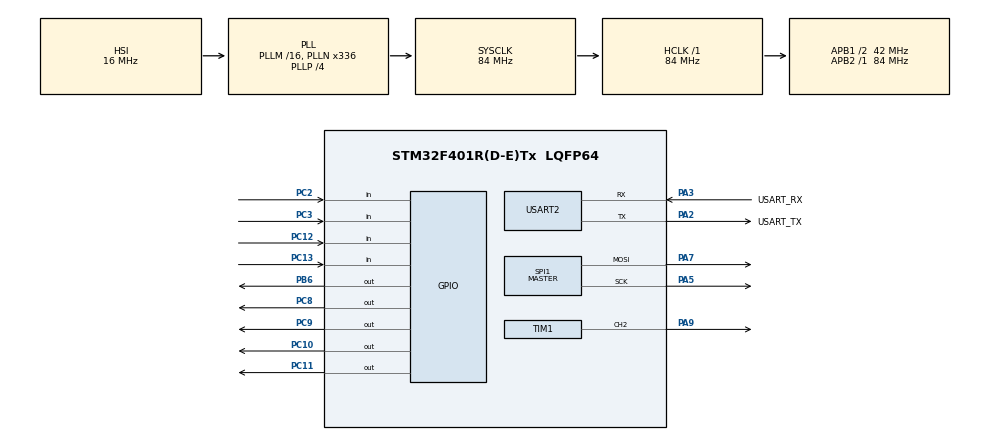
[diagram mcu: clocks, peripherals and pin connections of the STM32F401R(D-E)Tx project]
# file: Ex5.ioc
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Dma.Request0=SPI1_TX
Dma.SPI1_TX.0.Direction=DMA_MEMORY_TO_PERIPH
Dma.SPI1_TX.0.FIFOMode=DMA_FIFOMODE_DISABLE
Dma.SPI1_TX.0.Instance=DMA2_Stream3
Dma.SPI1_TX.0.MemDataAlignment=DMA_MDATAALIGN_BYTE
Dma.SPI1_TX.0.MemInc=DMA_MINC_ENABLE
Dma.SPI1_TX.0.Mode=DMA_NORMAL
Dma.SPI1_TX.0.PeriphDataAlignment=DMA_PDATAALIGN_BYTE
Dma.SPI1_TX.0.PeriphInc=DMA_PINC_DISABLE
Dma.SPI1_TX.0.Priority=DMA_PRIORITY_LOW
Mcu.Family=STM32F4
Mcu.Name=STM32F401R(D-E)Tx
Mcu.Package=LQFP64
NVIC.DMA2_Stream3_IRQn=true\:0\:0\:false\:false\:true\:false\:true\:true
NVIC.PriorityGroup=NVIC_PRIORITYGROUP_0
NVIC.TIM1_TRG_COM_TIM11_IRQn=true\:0\:0\:false\:false\:true\:true\:true\:true
NVIC.TIM1_UP_TIM10_IRQn=true\:0\:0\:false\:false\:true\:true\:true\:true
NVIC.TIM3_IRQn=true\:0\:0\:false\:false\:true\:true\:true\:true
PA13.GPIO_Label=TMS
PA13.Mode=Serial_Wire
PA13.Signal=SYS_JTMS-SWDIO
PA14.GPIO_Label=TCK
PA14.Mode=Serial_Wire
PA14.Signal=SYS_JTCK-SWCLK
PA2.GPIO_Label=USART_TX
PA2.GPIO_Mode=GPIO_MODE_AF_PP
PA2.GPIO_PuPd=GPIO_NOPULL
PA2.GPIO_Speed=GPIO_SPEED_FREQ_LOW
PA2.Mode=Asynchronous
PA2.Signal=USART2_TX
PA3.GPIO_Label=USART_RX
PA3.GPIO_Mode=GPIO_MODE_AF_PP
PA3.GPIO_PuPd=GPIO_NOPULL
PA3.GPIO_Speed=GPIO_SPEED_FREQ_LOW
PA3.Mode=Asynchronous
PA3.Signal=USART2_RX
PA5.Mode=TX_Only_Simplex_Unidirect_Master
PA5.Signal=SPI1_SCK
PA6.Signal=SPI1_MISO
PA7.Mode=TX_Only_Simplex_Unidirect_Master
PA7.Signal=SPI1_MOSI
PA9.Signal=S_TIM1_CH2
PB3.GPIO_Label=SWO
PB3.Signal=SYS_JTDO-SWO
PB6.Signal=GPIO_Output
PC10.Signal=GPIO_Output
PC11.Signal=GPIO_Output
PC12.Signal=GPIO_Input
PC13-ANTI_TAMP.Signal=GPIO_Input
PC14-OSC32_IN.Mode=LSE-External-Oscillator
PC14-OSC32_IN.Signal=RCC_OSC32_IN
PC15-OSC32_OUT.Mode=LSE-External-Oscillator
PC15-OSC32_OUT.Signal=RCC_OSC32_OUT
PC2.Signal=GPIO_Input
PC3.Signal=GPIO_Input
PC8.Signal=GPIO_Output
PC9.Signal=GPIO_Output
PH0\ -\ OSC_IN.Mode=HSE-External-Clock-Source
PH0\ -\ OSC_IN.Signal=RCC_OSC_IN
PH1\ -\ OSC_OUT.Mode=HSE-External-Clock-Source
PH1\ -\ OSC_OUT.Signal=RCC_OSC_OUT
ProjectManager.HeapSize=0x200
ProjectManager.StackSize=0x400
ProjectManager.TargetToolchain=STM32CubeIDE
RCC.48MHZClocksFreq_Value=48000000
RCC.AHBFreq_Value=84000000
RCC.APB1CLKDivider=RCC_HCLK_DIV2
RCC.APB1Freq_Value=42000000
RCC.APB1TimFreq_Value=84000000
RCC.APB2Freq_Value=84000000
RCC.APB2TimFreq_Value=84000000
RCC.CortexFreq_Value=84000000
RCC.HCLKFreq_Value=84000000
RCC.HSE_VALUE=8000000
RCC.HSI_VALUE=16000000
RCC.PLLN=336
RCC.PLLP=RCC_PLLP_DIV4
RCC.PLLQ=7
RCC.SYSCLKFreq_VALUE=84000000
RCC.SYSCLKSource=RCC_SYSCLKSOURCE_PLLCLK
RCC.VCOOutputFreq_Value=336000000
SH.S_TIM1_CH2.0=TIM1_CH2,PWM Generation2 CH2
SPI1.BaudRatePrescaler=SPI_BAUDRATEPRESCALER_4
SPI1.Direction=SPI_DIRECTION_2LINES
SPI1.Mode=SPI_MODE_MASTER
SPI1.VirtualType=VM_MASTER
TIM1.Channel-PWM\ Generation2\ CH2=TIM_CHANNEL_2
TIM1.Period=10-1
TIM1.Prescaler=8400-1
TIM1.TIM_MasterOutputTrigger=TIM_TRGO_UPDATE
TIM10.Period=10-1
TIM10.Prescaler=8400-1
TIM11.Period=4000-1
TIM11.Prescaler=84-1
TIM3.Period=10000-1
TIM3.Prescaler=8400-1
USART2.VirtualMode=VM_ASYNC
VP_TIM10_VS_ClockSourceINT.Mode=Enable_Timer
VP_TIM11_VS_ClockSourceINT.Mode=Enable_Timer
VP_TIM1_VS_ClockSourceINT.Mode=Internal
VP_TIM3_VS_ClockSourceINT.Mode=Internal
board=NUCLEO-F401RE

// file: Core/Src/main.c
/* USER CODE BEGIN Header */
/**
  ******************************************************************************
  * @file           : main.c
  * @brief          : Main program body
  ******************************************************************************
  * @attention
  *
  * Copyright (c) 2023 STMicroelectronics.
  * All rights reserved.
  *
  * This software is licensed under terms that can be found in the LICENSE file
  * in the root directory of this software component.
  * If no LICENSE file comes with this software, it is provided AS-IS.
  *
  ******************************************************************************
  */
/* USER CODE END Header */
#include "main.h"

/* USER CODE BEGIN PD */
#define RCLK_PIN GPIOB, GPIO_PIN_6
#define TIME_UNIT 1000

/* USER CODE END PD */

SPI_HandleTypeDef hspi1;
DMA_HandleTypeDef hdma_spi1_tx;

TIM_HandleTypeDef htim1;
TIM_HandleTypeDef htim3;
TIM_HandleTypeDef htim10;
TIM_HandleTypeDef htim11;

UART_HandleTypeDef huart2;

/* USER CODE BEGIN PV */
// enable read of rows of the keyboard
volatile int activate;

// struct to keep track of the buttons
typedef struct {
	char value[2];
	GPIO_PinState state;
	int pressed;
	int printed;
}keyboard_t;

// service variables
volatile int state_i = 0;
volatile int state_j = 0;
volatile int column = 0;
int column_index=0;

uint8_t matrix[5][2] = {
		{0, 16},
		{32, 8},
		{69, 4},
		{72, 2},
		{48, 1},
};

uint8_t matrix_void[5][2] = {
		{0, 16},
		{0, 8},
		{0, 4},
		{0, 2},
		{0, 1},
};

uint8_t matrix_A[5][2] = {
		{31, 16},
		{36, 8},
		{68, 4},
		{36, 2},
		{31, 1},
};

uint8_t matrix_B[5][2] = {
		{127, 16},
		{73, 8},
		{73, 4},
		{73, 2},
		{54, 1},
};

uint8_t matrix_C[5][2] = {
		{62, 16},
		{65, 8},
		{65, 4},
		{65, 2},
		{34, 1},
};

uint8_t matrix_D[5][2] = {
		{127, 16},
		{65, 8},
		{65, 4},
		{65, 2},
		{62, 1},
};

uint8_t matrix_E[5][2] = {
		{127, 16},
		{73, 8},
		{73, 4},
		{73, 2},
		{73, 1},
};

uint8_t matrix_F[5][2] = {
		{127, 16},
		{72, 8},
		{72, 4},
		{72, 2},
		{72, 1},
};

uint8_t matrix_0[5][2] = {
		{62, 16},
		{113, 8},
		{73, 4},
		{71, 2},
		{62, 1},
};

uint8_t matrix_1[5][2] = {
		{16, 16},
		{33, 8},
		{127, 4},
		{1, 2},
		{0, 1},
};

uint8_t matrix_2[5][2] = {
		{33, 16},
		{67, 8},
		{69, 4},
		{73, 2},
		{49, 1},
};

uint8_t matrix_3[5][2] = {
		{34, 16},
		{65, 8},
		{73, 4},
		{73, 2},
		{54, 1},
};

uint8_t matrix_4[5][2] = {
		{120, 16},
		{8, 8},
		{8, 4},
		{8, 2},
		{127, 1},
};

uint8_t matrix_5[5][2] = {
		{114, 16},
		{81, 8},
		{81, 4},
		{81, 2},
		{78, 1},
};

uint8_t matrix_6[5][2] = {
		{62, 16},
		{73, 8},
		{73, 4},
		{73, 2},
		{38, 1},
};

uint8_t matrix_7[5][2] = {
		{64, 16},
		{64, 8},
		{79, 4},
		{80, 2},
		{96, 1}
};

uint8_t matrix_8[5][2] = {
		{54, 16},
		{73, 8},
		{73, 4},
		{73, 2},
		{54, 1}
};

uint8_t matrix_9[5][2] = {
		{50, 16},
		{73, 8},
		{73, 4},
		{73, 2},
		{62, 1}
};

static void setFrequency(char* note)
{
  TIM_ClockConfigTypeDef sClockSourceConfig = {0};
  TIM_MasterConfigTypeDef sMasterConfig = {0};
  TIM_OC_InitTypeDef sConfigOC = {0};
  TIM_BreakDeadTimeConfigTypeDef sBreakDeadTimeConfig = {0};

  htim1.Instance = TIM1;
  htim1.Init.Prescaler = 100;
  htim1.Init.CounterMode = TIM_COUNTERMODE_UP;
  htim1.Init.Period = getPeriod(note)-1;
  htim1.Init.ClockDivision = TIM_CLOCKDIVISION_DIV1;
  htim1.Init.RepetitionCounter = 0;
  htim1.Init.AutoReloadPreload = TIM_AUTORELOAD_PRELOAD_DISABLE;
  if (HAL_TIM_Base_Init(&htim1) != HAL_OK)
  {
    Error_Handler();
  }
  sClockSourceConfig.ClockSource = TIM_CLOCKSOURCE_INTERNAL;
  if (HAL_TIM_ConfigClockSource(&htim1, &sClockSourceConfig) != HAL_OK)
  {
    Error_Handler();
  }
  if (HAL_TIM_PWM_Init(&htim1) != HAL_OK)
  {
    Error_Handler();
  }
  sMasterConfig.MasterOutputTrigger = TIM_TRGO_RESET;
  sMasterConfig.MasterSlaveMode = TIM_MASTERSLAVEMODE_DISABLE;
  if (HAL_TIMEx_MasterConfigSynchronization(&htim1, &sMasterConfig) != HAL_OK)
  {
    Error_Handler();
  }
  sConfigOC.OCMode = TIM_OCMODE_PWM1;
  sConfigOC.Pulse = (int)getPeriod(note)/2 -1;
  sConfigOC.OCPolarity = TIM_OCPOLARITY_HIGH;
  sConfigOC.OCNPolarity = TIM_OCNPOLARITY_HIGH;
  sConfigOC.OCFastMode = TIM_OCFAST_DISABLE;
  sConfigOC.OCIdleState = TIM_OCIDLESTATE_RESET;
  sConfigOC.OCNIdleState = TIM_OCNIDLESTATE_RESET;
  if (HAL_TIM_PWM_ConfigChannel(&htim1, &sConfigOC, TIM_CHANNEL_2) != HAL_OK)
  {
    Error_Handler();
  }
  sBreakDeadTimeConfig.OffStateRunMode = TIM_OSSR_DISABLE;
  sBreakDeadTimeConfig.OffStateIDLEMode = TIM_OSSI_DISABLE;
  sBreakDeadTimeConfig.LockLevel = TIM_LOCKLEVEL_OFF;
  sBreakDeadTimeConfig.DeadTime = 0;
  sBreakDeadTimeConfig.BreakState = TIM_BREAK_DISABLE;
  sBreakDeadTimeConfig.BreakPolarity = TIM_BREAKPOLARITY_HIGH;
  sBreakDeadTimeConfig.AutomaticOutput = TIM_AUTOMATICOUTPUT_DISABLE;
  if (HAL_TIMEx_ConfigBreakDeadTime(&htim1, &sBreakDeadTimeConfig) != HAL_OK)
  {
    Error_Handler();
  }
  HAL_TIM_MspPostInit(&htim1);
}

int getPeriod(char* note){
	if(strcmp(note, "la")==0)
		return 1909;
	else if (strcmp(note, "la#")==0)
			return 1802;
	else if (strcmp(note, "si")==0)
			return 1700;
	else if (strcmp(note, "do")==0)
			return 3206;
	else if (strcmp(note, "do#")==0)
			return 3032;
	else if (strcmp(note, "re")==0)
			return 2857;
	else if (strcmp(note, "re5")==0)
				return 1431;
	else if (strcmp(note, "re#")==0)
			return 2700;
	else if (strcmp(note, "mi")==0)
			return 2545;
	else if (strcmp(note, "fa")==0)
			return 2406;
	else if (strcmp(note, "fa#")==0)
			return 2270;
	else if (strcmp(note, "sol")==0)
			return 2142;
	else if (strcmp(note, "sol#")==0)
			return 2024;
}
void setNote (char* note, int delay){
	setFrequency(note);
	HAL_TIM_PWM_Start(&htim1, TIM_CHANNEL_2);
	HAL_Delay(delay);
	HAL_TIM_PWM_Stop(&htim1, TIM_CHANNEL_2);
}
void play_zero(){
	 setNote("sol", (int)TIME_UNIT * 3/8);
}
void play_three(){
	 setNote("la", (int)TIME_UNIT * 3/8);
}
void play_c(){
	 setNote("si", (int)TIME_UNIT * 3/8);
}
void play_f(){
	 setNote("do", (int)TIME_UNIT * 3/8);
}
volatile const uint16_t COLUMN_PIN[]= {
	GPIO_PIN_8,
	GPIO_PIN_9,
	GPIO_PIN_10,
	GPIO_PIN_11
};

// send to remote terminal
volatile char message[32];
volatile int length = 0;
/* USER CODE END PV */

void SystemClock_Config(void);
static void MX_GPIO_Init(void);
static void MX_DMA_Init(void);
static void MX_USART2_UART_Init(void);
static void MX_TIM1_Init(void);
static void MX_SPI1_Init(void);
static void MX_TIM11_Init(void);
static void MX_TIM10_Init(void);
static void MX_TIM3_Init(void);
/* USER CODE BEGIN PFP */

void HAL_TIM_PeriodElapsedCallback(TIM_HandleTypeDef *htim){
	if(htim==&htim11)
		HAL_SPI_Transmit_DMA(&hspi1, matrix[column_index], 2);
	if(htim==&htim10)
		activate = 1;
	if (htim==&htim3)
		memcpy(matrix, matrix_void, sizeof(matrix));
}
void HAL_SPI_TxCpltCallback(SPI_HandleTypeDef *hspi){
	if(hspi==&hspi1){
		HAL_GPIO_WritePin(RCLK_PIN, GPIO_PIN_SET);
		if(++column_index>4)
			column_index=0;
		HAL_GPIO_WritePin(RCLK_PIN, GPIO_PIN_RESET);
	}
}
/* USER CODE END PFP */

int main(void)
{

  /* MCU Configuration--------------------------------------------------------*/

  /* Reset of all peripherals, Initializes the Flash interface and the Systick. */
  HAL_Init();

  /* Configure the system clock */
  SystemClock_Config();

  /* Initialize all configured peripherals */
  MX_GPIO_Init();
  MX_DMA_Init();
  MX_USART2_UART_Init();
  MX_TIM1_Init();
  MX_SPI1_Init();
  MX_TIM11_Init();
  MX_TIM10_Init();
  MX_TIM3_Init();
  /* USER CODE BEGIN 2 */
  keyboard_t data[4][4];
  for(int i = 0; i < 4; i++) {
    for(int j = 0; j < 4; j++) {
	    data[i][j].state = GPIO_PIN_SET;
	    data[i][j].value[1] = '\0';
	    data[i][j].pressed = 0;
	    data[i][j].printed = 0;
    }
  }

  data[0][0].value[0] = '0';
  data[0][1].value[0] = '1';
  data[0][2].value[0] = '2';
  data[0][3].value[0] = '3';
  data[1][0].value[0] = '4';
  data[1][1].value[0] = '5';
  data[1][2].value[0] = '6';
  data[1][3].value[0] = '7';
  data[2][0].value[0] = '8';
  data[2][1].value[0] = '9';
  data[2][2].value[0] = 'A';
  data[2][3].value[0] = 'B';
  data[3][0].value[0] = 'C';
  data[3][1].value[0] = 'D';
  data[3][2].value[0] = 'E';
  data[3][3].value[0] = 'F';

  HAL_GPIO_WritePin(GPIOC, GPIO_PIN_8, GPIO_PIN_RESET);
  HAL_GPIO_WritePin(GPIOC, GPIO_PIN_9, GPIO_PIN_RESET);
  HAL_GPIO_WritePin(GPIOC, GPIO_PIN_10, GPIO_PIN_RESET);
  HAL_GPIO_WritePin(GPIOC, GPIO_PIN_11, GPIO_PIN_RESET);

  HAL_TIM_Base_Start_IT(&htim10);
  HAL_TIM_Base_Start_IT(&htim11);
  /* USER CODE END 2 */

  /* Infinite loop */
  /* USER CODE BEGIN WHILE */
  while (1)
  {
	  	HAL_GPIO_WritePin(GPIOC, COLUMN_PIN[column], GPIO_PIN_SET);

	  	if(activate) {
	  		activate = 0;
			data[state_i][state_j].state = HAL_GPIO_ReadPin(GPIOC, GPIO_PIN_12);
			state_i++;
			data[state_i][state_j].state = HAL_GPIO_ReadPin(GPIOC, GPIO_PIN_13);
			state_i++;
			data[state_i][state_j].state = HAL_GPIO_ReadPin(GPIOC, GPIO_PIN_2);
			state_i++;
			data[state_i][state_j].state = HAL_GPIO_ReadPin(GPIOC, GPIO_PIN_3);
			state_i = 0;
			HAL_GPIO_WritePin(GPIOC, COLUMN_PIN[column], GPIO_PIN_RESET);

			column++;
			if(column > 3) {
				column = 0;
			}

			state_j++;
			if(state_j > 3) {
				state_j = 0;
			}

			for(int i = 0; i < 4; i++) {
				for(int j = 0; j < 4; j++) {
					if(data[i][j].state == GPIO_PIN_SET) {
						data[i][j].pressed = 0;
						data[i][j].printed = 0;
					}
				}
			}

			for(int i = 0; i < 4; i++) {
				for(int j = 0; j < 4; j++) {
					if(data[i][j].state == GPIO_PIN_RESET) {
						length = snprintf(message, 32, "%s ", data[i][j].value);
						data[i][j].pressed = 1;
					}

					if(data[i][j].pressed && !data[i][j].printed){
						HAL_UART_Transmit(&huart2, message, length, 50);
						data[i][j].printed = 1;
						switch (data[i][j].value[0]){
							case '0':
								memcpy(matrix, matrix_void, sizeof(matrix));
								play_zero();
								break;
							case '1':
								memcpy(matrix, matrix_1, sizeof(matrix));
								HAL_TIM_Base_Start_IT(&htim3);
								break;
							case '2':
								memcpy(matrix, matrix_2, sizeof(matrix));
								HAL_TIM_Base_Start_IT(&htim3);
								break;
							case '3':
								memcpy(matrix, matrix_void, sizeof(matrix));
								play_three();
								break;
							case '4':
								memcpy(matrix, matrix_4, sizeof(matrix));
								HAL_TIM_Base_Start_IT(&htim3);
								break;
							case '5':
								memcpy(matrix, matrix_5, sizeof(matrix));
								HAL_TIM_Base_Start_IT(&htim3);
								break;
							case '6':
								memcpy(matrix, matrix_6, sizeof(matrix));
								HAL_TIM_Base_Start_IT(&htim3);
								break;
							case '7':
								memcpy(matrix, matrix_7, sizeof(matrix));
								HAL_TIM_Base_Start_IT(&htim3);
								break;
							case '8':
								memcpy(matrix, matrix_8, sizeof(matrix));
								HAL_TIM_Base_Start_IT(&htim3);
								break;
							case '9':
								memcpy(matrix, matrix_9, sizeof(matrix));
								HAL_TIM_Base_Start_IT(&htim3);
								break;
							case 'A':
								memcpy(matrix, matrix_A, sizeof(matrix));
								HAL_TIM_Base_Start_IT(&htim3);
								break;
							case 'B':
								memcpy(matrix, matrix_B, sizeof(matrix));
								HAL_TIM_Base_Start_IT(&htim3);
								break;
							case 'C':
								memcpy(matrix, matrix_void, sizeof(matrix));
								play_c();
								break;
							case 'D':
								memcpy(matrix, matrix_D, sizeof(matrix));
								HAL_TIM_Base_Start_IT(&htim3);
								break;
							case 'E':
								memcpy(matrix, matrix_E, sizeof(matrix));
								HAL_TIM_Base_Start_IT(&htim3);
								break;
							case 'F':
								memcpy(matrix, matrix_void, sizeof(matrix));
								play_f();
								break;
						}

					}
				}
			}
	  	}
    /* USER CODE END WHILE */

  }
}

void SystemClock_Config(void)
{
  RCC_OscInitTypeDef RCC_OscInitStruct = {0};
  RCC_ClkInitTypeDef RCC_ClkInitStruct = {0};

  /** Configure the main internal regulator output voltage
  */
  __HAL_RCC_PWR_CLK_ENABLE();
  __HAL_PWR_VOLTAGESCALING_CONFIG(PWR_REGULATOR_VOLTAGE_SCALE2);

  /** Initializes the RCC Oscillators according to the specified parameters
  * in the RCC_OscInitTypeDef structure.
  */
  RCC_OscInitStruct.OscillatorType = RCC_OSCILLATORTYPE_HSI;
  RCC_OscInitStruct.HSIState = RCC_HSI_ON;
  RCC_OscInitStruct.HSICalibrationValue = RCC_HSICALIBRATION_DEFAULT;
  RCC_OscInitStruct.PLL.PLLState = RCC_PLL_ON;
  RCC_OscInitStruct.PLL.PLLSource = RCC_PLLSOURCE_HSI;
  RCC_OscInitStruct.PLL.PLLM = 16;
  RCC_OscInitStruct.PLL.PLLN = 336;
  RCC_OscInitStruct.PLL.PLLP = RCC_PLLP_DIV4;
  RCC_OscInitStruct.PLL.PLLQ = 7;
  if (HAL_RCC_OscConfig(&RCC_OscInitStruct) != HAL_OK)
  {
    Error_Handler();
  }

  /** Initializes the CPU, AHB and APB buses clocks
  */
  RCC_ClkInitStruct.ClockType = RCC_CLOCKTYPE_HCLK|RCC_CLOCKTYPE_SYSCLK
                              |RCC_CLOCKTYPE_PCLK1|RCC_CLOCKTYPE_PCLK2;
  RCC_ClkInitStruct.SYSCLKSource = RCC_SYSCLKSOURCE_PLLCLK;
  RCC_ClkInitStruct.AHBCLKDivider = RCC_SYSCLK_DIV1;
  RCC_ClkInitStruct.APB1CLKDivider = RCC_HCLK_DIV2;
  RCC_ClkInitStruct.APB2CLKDivider = RCC_HCLK_DIV1;

  if (HAL_RCC_ClockConfig(&RCC_ClkInitStruct, FLASH_LATENCY_2) != HAL_OK)
  {
    Error_Handler();
  }
}

static void MX_SPI1_Init(void)
{

  /* SPI1 parameter configuration*/
  hspi1.Instance = SPI1;
  hspi1.Init.Mode = SPI_MODE_MASTER;
  hspi1.Init.Direction = SPI_DIRECTION_2LINES;
  hspi1.Init.DataSize = SPI_DATASIZE_8BIT;
  hspi1.Init.CLKPolarity = SPI_POLARITY_LOW;
  hspi1.Init.CLKPhase = SPI_PHASE_1EDGE;
  hspi1.Init.NSS = SPI_NSS_SOFT;
  hspi1.Init.BaudRatePrescaler = SPI_BAUDRATEPRESCALER_4;
  hspi1.Init.FirstBit = SPI_FIRSTBIT_MSB;
  hspi1.Init.TIMode = SPI_TIMODE_DISABLE;
  hspi1.Init.CRCCalculation = SPI_CRCCALCULATION_DISABLE;
  hspi1.Init.CRCPolynomial = 10;
  if (HAL_SPI_Init(&hspi1) != HAL_OK)
  {
    Error_Handler();
  }

}

static void MX_TIM1_Init(void)
{

  TIM_ClockConfigTypeDef sClockSourceConfig = {0};
  TIM_MasterConfigTypeDef sMasterConfig = {0};
  TIM_OC_InitTypeDef sConfigOC = {0};
  TIM_BreakDeadTimeConfigTypeDef sBreakDeadTimeConfig = {0};

  htim1.Instance = TIM1;
  htim1.Init.Prescaler = 8400-1;
  htim1.Init.CounterMode = TIM_COUNTERMODE_UP;
  htim1.Init.Period = 10-1;
  htim1.Init.ClockDivision = TIM_CLOCKDIVISION_DIV1;
  htim1.Init.RepetitionCounter = 0;
  htim1.Init.AutoReloadPreload = TIM_AUTORELOAD_PRELOAD_DISABLE;
  if (HAL_TIM_Base_Init(&htim1) != HAL_OK)
  {
    Error_Handler();
  }
  sClockSourceConfig.ClockSource = TIM_CLOCKSOURCE_INTERNAL;
  if (HAL_TIM_ConfigClockSource(&htim1, &sClockSourceConfig) != HAL_OK)
  {
    Error_Handler();
  }
  if (HAL_TIM_PWM_Init(&htim1) != HAL_OK)
  {
    Error_Handler();
  }
  sMasterConfig.MasterOutputTrigger = TIM_TRGO_UPDATE;
  sMasterConfig.MasterSlaveMode = TIM_MASTERSLAVEMODE_DISABLE;
  if (HAL_TIMEx_MasterConfigSynchronization(&htim1, &sMasterConfig) != HAL_OK)
  {
    Error_Handler();
  }
  sConfigOC.OCMode = TIM_OCMODE_PWM1;
  sConfigOC.Pulse = 0;
  sConfigOC.OCPolarity = TIM_OCPOLARITY_HIGH;
  sConfigOC.OCNPolarity = TIM_OCNPOLARITY_HIGH;
  sConfigOC.OCFastMode = TIM_OCFAST_DISABLE;
  sConfigOC.OCIdleState = TIM_OCIDLESTATE_RESET;
  sConfigOC.OCNIdleState = TIM_OCNIDLESTATE_RESET;
  if (HAL_TIM_PWM_ConfigChannel(&htim1, &sConfigOC, TIM_CHANNEL_2) != HAL_OK)
  {
    Error_Handler();
  }
  sBreakDeadTimeConfig.OffStateRunMode = TIM_OSSR_DISABLE;
  sBreakDeadTimeConfig.OffStateIDLEMode = TIM_OSSI_DISABLE;
  sBreakDeadTimeConfig.LockLevel = TIM_LOCKLEVEL_OFF;
  sBreakDeadTimeConfig.DeadTime = 0;
  sBreakDeadTimeConfig.BreakState = TIM_BREAK_DISABLE;
  sBreakDeadTimeConfig.BreakPolarity = TIM_BREAKPOLARITY_HIGH;
  sBreakDeadTimeConfig.AutomaticOutput = TIM_AUTOMATICOUTPUT_DISABLE;
  if (HAL_TIMEx_ConfigBreakDeadTime(&htim1, &sBreakDeadTimeConfig) != HAL_OK)
  {
    Error_Handler();
  }
  HAL_TIM_MspPostInit(&htim1);

}

static void MX_TIM3_Init(void)
{

  TIM_ClockConfigTypeDef sClockSourceConfig = {0};
  TIM_MasterConfigTypeDef sMasterConfig = {0};

  htim3.Instance = TIM3;
  htim3.Init.Prescaler = 8400-1;
  htim3.Init.CounterMode = TIM_COUNTERMODE_UP;
  htim3.Init.Period = 10000-1;
  htim3.Init.ClockDivision = TIM_CLOCKDIVISION_DIV1;
  htim3.Init.AutoReloadPreload = TIM_AUTORELOAD_PRELOAD_DISABLE;
  if (HAL_TIM_Base_Init(&htim3) != HAL_OK)
  {
    Error_Handler();
  }
  sClockSourceConfig.ClockSource = TIM_CLOCKSOURCE_INTERNAL;
  if (HAL_TIM_ConfigClockSource(&htim3, &sClockSourceConfig) != HAL_OK)
  {
    Error_Handler();
  }
  sMasterConfig.MasterOutputTrigger = TIM_TRGO_RESET;
  sMasterConfig.MasterSlaveMode = TIM_MASTERSLAVEMODE_DISABLE;
  if (HAL_TIMEx_MasterConfigSynchronization(&htim3, &sMasterConfig) != HAL_OK)
  {
    Error_Handler();
  }

}

static void MX_TIM10_Init(void)
{

  htim10.Instance = TIM10;
  htim10.Init.Prescaler = 8400-1;
  htim10.Init.CounterMode = TIM_COUNTERMODE_UP;
  htim10.Init.Period = 10-1;
  htim10.Init.ClockDivision = TIM_CLOCKDIVISION_DIV1;
  htim10.Init.AutoReloadPreload = TIM_AUTORELOAD_PRELOAD_DISABLE;
  if (HAL_TIM_Base_Init(&htim10) != HAL_OK)
  {
    Error_Handler();
  }

}

static void MX_TIM11_Init(void)
{

  htim11.Instance = TIM11;
  htim11.Init.Prescaler = 84-1;
  htim11.Init.CounterMode = TIM_COUNTERMODE_UP;
  htim11.Init.Period = 4000-1;
  htim11.Init.ClockDivision = TIM_CLOCKDIVISION_DIV1;
  htim11.Init.AutoReloadPreload = TIM_AUTORELOAD_PRELOAD_DISABLE;
  if (HAL_TIM_Base_Init(&htim11) != HAL_OK)
  {
    Error_Handler();
  }

}

static void MX_USART2_UART_Init(void)
{

  huart2.Instance = USART2;
  huart2.Init.BaudRate = 115200;
  huart2.Init.WordLength = UART_WORDLENGTH_8B;
  huart2.Init.StopBits = UART_STOPBITS_1;
  huart2.Init.Parity = UART_PARITY_NONE;
  huart2.Init.Mode = UART_MODE_TX_RX;
  huart2.Init.HwFlowCtl = UART_HWCONTROL_NONE;
  huart2.Init.OverSampling = UART_OVERSAMPLING_16;
  if (HAL_UART_Init(&huart2) != HAL_OK)
  {
    Error_Handler();
  }

}

static void MX_DMA_Init(void)
{

  /* DMA controller clock enable */
  __HAL_RCC_DMA2_CLK_ENABLE();

  /* DMA interrupt init */
  /* DMA2_Stream3_IRQn interrupt configuration */
  HAL_NVIC_SetPriority(DMA2_Stream3_IRQn, 0, 0);
  HAL_NVIC_EnableIRQ(DMA2_Stream3_IRQn);

}

static void MX_GPIO_Init(void)
{
  GPIO_InitTypeDef GPIO_InitStruct = {0};

  /* GPIO Ports Clock Enable */
  __HAL_RCC_GPIOC_CLK_ENABLE();
  __HAL_RCC_GPIOH_CLK_ENABLE();
  __HAL_RCC_GPIOA_CLK_ENABLE();
  __HAL_RCC_GPIOB_CLK_ENABLE();

  /*Configure GPIO pin Output Level */
  HAL_GPIO_WritePin(GPIOC, GPIO_PIN_8|GPIO_PIN_9|GPIO_PIN_10|GPIO_PIN_11, GPIO_PIN_RESET);

  /*Configure GPIO pin Output Level */
  HAL_GPIO_WritePin(GPIOB, GPIO_PIN_6, GPIO_PIN_RESET);

  /*Configure GPIO pins : PC13 PC2 PC3 PC12 */
  GPIO_InitStruct.Pin = GPIO_PIN_13|GPIO_PIN_2|GPIO_PIN_3|GPIO_PIN_12;
  GPIO_InitStruct.Mode = GPIO_MODE_INPUT;
  GPIO_InitStruct.Pull = GPIO_NOPULL;
  HAL_GPIO_Init(GPIOC, &GPIO_InitStruct);

  /*Configure GPIO pins : PC8 PC9 PC10 PC11 */
  GPIO_InitStruct.Pin = GPIO_PIN_8|GPIO_PIN_9|GPIO_PIN_10|GPIO_PIN_11;
  GPIO_InitStruct.Mode = GPIO_MODE_OUTPUT_PP;
  GPIO_InitStruct.Pull = GPIO_NOPULL;
  GPIO_InitStruct.Speed = GPIO_SPEED_FREQ_LOW;
  HAL_GPIO_Init(GPIOC, &GPIO_InitStruct);

  /*Configure GPIO pin : PB6 */
  GPIO_InitStruct.Pin = GPIO_PIN_6;
  GPIO_InitStruct.Mode = GPIO_MODE_OUTPUT_PP;
  GPIO_InitStruct.Pull = GPIO_NOPULL;
  GPIO_InitStruct.Speed = GPIO_SPEED_FREQ_LOW;
  HAL_GPIO_Init(GPIOB, &GPIO_InitStruct);

}

void Error_Handler(void)
{
  __disable_irq();
  while (1)
  {
  }
}
